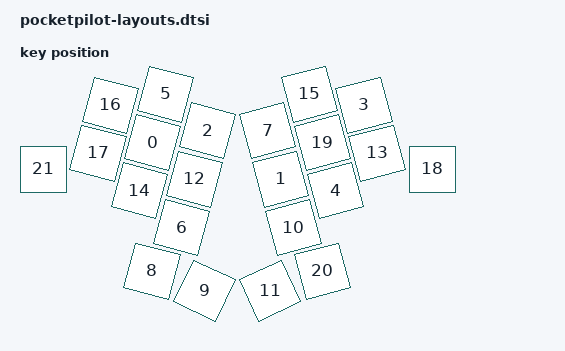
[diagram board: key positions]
#include <physical_layouts.dtsi>
/ {
    pocketpilot_physical_layout: pocketpilot_physical_layout {
        compatible = "zmk,physical-layout";
        display-name = "pocketpilot";
        kscan = <&kscan0>;
        transform = <&default_transform>;

keys  //                     w   h    x    y     rot    rx    ry
            = <&key_physical_attrs 100 100  219   97    1500   269   147>
            , <&key_physical_attrs 100 100  475  170 (-1500)   525   220>
            , <&key_physical_attrs 100 100  329   73    1500   379   123>
            , <&key_physical_attrs 100 100  642   22 (-1500)   692    72>
            , <&key_physical_attrs 100 100  585  193 (-1500)   635   243>
            , <&key_physical_attrs 100 100  245    0    1500   295    50>
            , <&key_physical_attrs 100 100  277  267    1500   327   317>
            , <&key_physical_attrs 100 100  449   73 (-1500)   499   123>
            , <&key_physical_attrs 100 100  218  354    1500   268   404>
            , <&key_physical_attrs 100 100  323  393    2500   373   443>
            , <&key_physical_attrs 100 100  501  267 (-1500)   551   317>
            , <&key_physical_attrs 100 100  454  393 (-2500)   504   443>
            , <&key_physical_attrs 100 100  303  170    1500   353   220>
            , <&key_physical_attrs 100 100  668  118 (-1500)   718   168>
            , <&key_physical_attrs 100 100  193  193    1500   243   243>
            , <&key_physical_attrs 100 100  533    0 (-1500)   583    50>
            , <&key_physical_attrs 100 100  135   22    1500   185    72>
            , <&key_physical_attrs 100 100  110  118    1500   160   168>
            , <&key_physical_attrs 100 100  778  150       0     0     0>
            , <&key_physical_attrs 100 100  559   97 (-1500)   609   147>
            , <&key_physical_attrs 100 100  559  354 (-1500)   609   404>
            , <&key_physical_attrs 100 100    0  150       0     0     0>
            ;
    };

    position_map {
        compatible = "zmk,physical-layout-position-map";

        complete;

        pocketpilot_physical_layout {
            physical-layout = <&pocketpilot_physical_layout>;
            positions =    < 0  1  2  3  4  5  >
		      , < 6  7  8  9  10 11 12 13 >
		      ,       < 14 15 16 17 >
		      ,       < 18 19 20 21 >;
        };
    };
};
